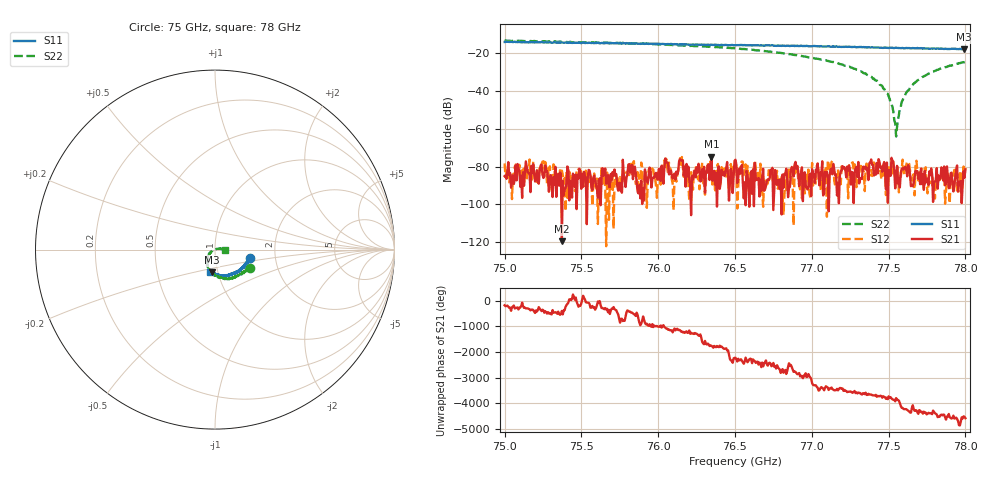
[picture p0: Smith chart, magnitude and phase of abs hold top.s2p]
# Hz S MA R 50
! CMT, C4420, 21421029, 25.1.2/3
! Date: 8/7/2025 12:49:32 PM
! Data: Format (Calibration Info)
! Freq	S33:Mag/Ang(F2)	S43:Mag/Ang(F2)	S34:Mag/Ang(F2)	S44:Mag/Ang(F2)
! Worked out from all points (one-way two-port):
!   500 points, 75 GHz to 78 GHz, reference 50 ohm
!   highest |S21| = -74.74 dB at 76.347 GHz (marker M1); lowest = -119.4 dB at 75.373 GHz (marker M2)
!   lowest |S11| = -17.9 dB at 77.988 GHz (marker M3), VSWR 1.29, Z = 46.6 - j11.9 ohm
!   |S11| at or under -10 dB: start of sweep to end of sweep
!   |S22| runs from -64.1 to -13.3 dB; largest |S21 - S12| = 0.00021
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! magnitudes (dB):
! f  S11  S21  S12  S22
! 75 GHz  -14.1  -85.1  -78.3  -13.3
! 75.222 GHz  -14.3  -89.0  -84.0  -13.8
! 75.253 GHz  -14.3  -86.0  -77.2  -13.7
! 75.373 GHz  -14.3  -119.4  -82.1  -14.1
! 75.505 GHz  -14.4  -83.9  -89.3  -14.2
! 76.004 GHz  -15.1  -81.2  -80.8  -15.3
! 76.058 GHz  -15.2  -77.8  -80.0  -15.5
! 76.118 GHz  -15.2  -82.6  -87.9  -15.7
! 76.148 GHz  -15.4  -76.3  -79.0  -15.9
! 76.178 GHz  -15.3  -90.6  -85.1  -15.9
! 76.347 GHz  -15.4  -74.7  -84.6  -16.6
! 76.503 GHz  -15.8  -76.3  -80.2  -17.4
! 77.002 GHz  -16.3  -81.4  -78.0  -22.4
! 77.375 GHz  -16.9  -78.1  -84.9  -31.8
! 77.501 GHz  -17.3  -81.9  -80.4  -42.8
! 77.531 GHz  -17.3  -77.3  -84.7  -51.0
! 77.549 GHz  -17.1  -84.7  -85.9  -64.1
! 77.597 GHz  -17.4  -81.4  -81.3  -43.8
! 77.663 GHz  -17.4  -88.5  -84.0  -36.1
! 77.778 GHz  -17.5  -81.0  -89.0  -30.1
! 77.988 GHz  -17.9  -82.4  -80.0  -24.7
! 78 GHz  -17.7  -81.5  -80.6  -24.7
